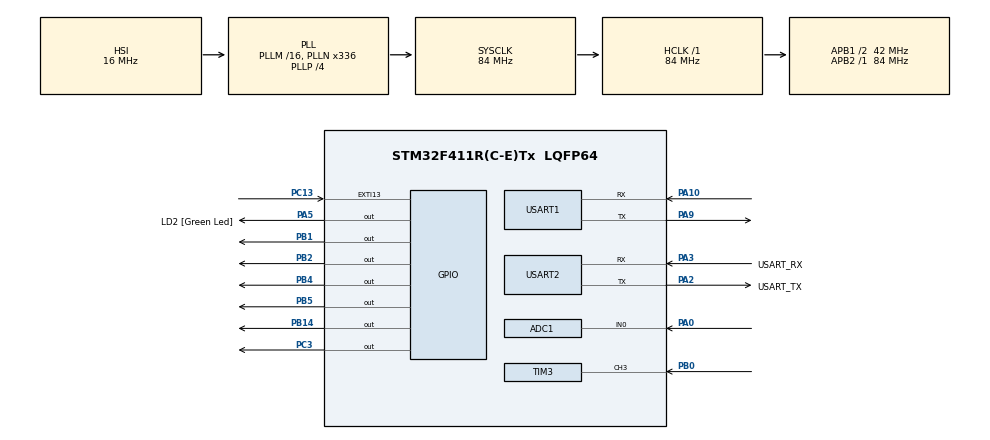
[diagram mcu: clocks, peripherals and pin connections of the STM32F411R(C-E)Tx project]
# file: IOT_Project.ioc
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ADC1.Channel-0\#ChannelRegularConversion=ADC_CHANNEL_0
ADC1.NbrOfConversionFlag=1
ADC1.Rank-0\#ChannelRegularConversion=1
ADC1.SamplingTime-0\#ChannelRegularConversion=ADC_SAMPLETIME_3CYCLES
ADC1.master=1
Mcu.Family=STM32F4
Mcu.Name=STM32F411R(C-E)Tx
Mcu.Package=LQFP64
NVIC.EXTI15_10_IRQn=true\:0\:0\:false\:false\:true\:true\:true\:true
NVIC.PriorityGroup=NVIC_PRIORITYGROUP_4
NVIC.TIM2_IRQn=true\:15\:0\:false\:false\:true\:false\:true\:true
NVIC.TIM3_IRQn=true\:0\:0\:false\:false\:true\:true\:true\:true
NVIC.TimeBase=TIM2_IRQn
NVIC.TimeBaseIP=TIM2
PA0-WKUP.Signal=ADCx_IN0
PA10.Mode=Asynchronous
PA10.Signal=USART1_RX
PA13.GPIO_Label=TMS
PA13.Mode=Serial_Wire
PA13.Signal=SYS_JTMS-SWDIO
PA14.GPIO_Label=TCK
PA14.Mode=Serial_Wire
PA14.Signal=SYS_JTCK-SWCLK
PA2.GPIO_Label=USART_TX
PA2.Mode=Asynchronous
PA2.Signal=USART2_TX
PA3.GPIO_Label=USART_RX
PA3.Mode=Asynchronous
PA3.Signal=USART2_RX
PA5.GPIO_Label=LD2 [Green Led]
PA5.Signal=GPIO_Output
PA9.Mode=Asynchronous
PA9.Signal=USART1_TX
PB0.Signal=S_TIM3_CH3
PB1.Signal=GPIO_Output
PB14.Signal=GPIO_Output
PB2.Signal=GPIO_Output
PB3.GPIO_Label=SWO
PB3.Signal=SYS_JTDO-SWO
PB4.Signal=GPIO_Output
PB5.Signal=GPIO_Output
PC13-ANTI_TAMP.GPIO_ModeDefaultEXTI=GPIO_MODE_IT_FALLING
PC13-ANTI_TAMP.Signal=GPXTI13
PC14-OSC32_IN.Mode=LSE-External-Oscillator
PC14-OSC32_IN.Signal=RCC_OSC32_IN
PC15-OSC32_OUT.Mode=LSE-External-Oscillator
PC15-OSC32_OUT.Signal=RCC_OSC32_OUT
PC3.GPIO_ModeDefaultOutputPP=GPIO_MODE_OUTPUT_OD
PC3.GPIO_PuPd=GPIO_NOPULL
PC3.Signal=GPIO_Output
PH0\ -\ OSC_IN.Mode=HSE-External-Clock-Source
PH0\ -\ OSC_IN.Signal=RCC_OSC_IN
PH1\ -\ OSC_OUT.Mode=HSE-External-Clock-Source
PH1\ -\ OSC_OUT.Signal=RCC_OSC_OUT
ProjectManager.HeapSize=0x200
ProjectManager.StackSize=0x400
ProjectManager.TargetToolchain=STM32CubeIDE
RCC.48MHZClocksFreq_Value=84000000
RCC.AHBFreq_Value=84000000
RCC.APB1CLKDivider=RCC_HCLK_DIV2
RCC.APB1Freq_Value=42000000
RCC.APB1TimFreq_Value=84000000
RCC.APB2Freq_Value=84000000
RCC.APB2TimFreq_Value=84000000
RCC.CortexFreq_Value=84000000
RCC.FLatency-AdvancedSettings=FLASH_LATENCY_2
RCC.HCLKFreq_Value=84000000
RCC.HSE_VALUE=8000000
RCC.HSI_VALUE=16000000
RCC.PLLN=336
RCC.PLLP=RCC_PLLP_DIV4
RCC.SYSCLKFreq_VALUE=84000000
RCC.SYSCLKSource=RCC_SYSCLKSOURCE_PLLCLK
RCC.VCOOutputFreq_Value=336000000
SH.ADCx_IN0.0=ADC1_IN0,IN0
SH.S_TIM3_CH3.0=TIM3_CH3,Input_Capture3_from_TI3
TIM1.Prescaler=84-1
TIM3.AutoReloadPreload=TIM_AUTORELOAD_PRELOAD_ENABLE
TIM3.Channel-Input_Capture3_from_TI3=TIM_CHANNEL_3
TIM3.Period=65536-1
TIM3.Prescaler=84-1
USART1.VirtualMode=VM_ASYNC
USART2.VirtualMode=VM_ASYNC
VP_SYS_VS_tim2.Mode=TIM2
VP_TIM1_VS_ClockSourceINT.Mode=Internal
VP_TIM3_VS_ClockSourceINT.Mode=Internal
board=NUCLEO-F411RE

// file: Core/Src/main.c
/* USER CODE BEGIN Header */
/**
  ******************************************************************************
  * @file           : main.c
  * @brief          : Main program body
  ******************************************************************************
  * @attention
  *
  * Copyright (c) 2024 STMicroelectronics.
  * All rights reserved.
  *
  * This software is licensed under terms that can be found in the LICENSE file
  * in the root directory of this software component.
  * If no LICENSE file comes with this software, it is provided AS-IS.
  *
  ******************************************************************************
  */
/* USER CODE END Header */
#include "main.h"

/* USER CODE BEGIN Includes */
#include <stdio.h>
#include <stdbool.h>
#include <string.h>
#include <stdlib.h>
#include <math.h>
#include "dht22.h"
#include "active_buzzer.h"
#include "tcs3200.h"
/* USER CODE END Includes */

/* USER CODE BEGIN PD */
// Threshold for each fruit
// Apple
#define HUM_APPLE_MIN 90
#define HUM_APPLE_MAX 95
#define ALC_APPLE 102.604
#define L_APPLE 0.84
#define CC_APPLE 16.5
#define BI_APPLE 1.7

// Banana
#define HUM_BANANA_MIN 50
#define HUM_BANANA_MAX 95
#define ALC_BANANA 90
#define L_BANANA 0.7
#define CC_BANANA 5
#define BI_BANANA 2.5

// Mango
#define HUM_MANGO_MIN 90
#define HUM_MANGO_MAX 95
#define ALC_MANGO 67.29
#define L_MANGO 0.95
#define CC_MANGO 13.5
#define BI_MANGO 1.6

// Basic Threshold
#define TEMP_THRESHOLD 28

// DHT22
#define DHT22_PORT GPIOB
#define DHT22_PIN GPIO_PIN_14

// Active Buzzer
#define BUZZER_PORT GPIOC
#define BUZZER_PIN GPIO_PIN_3

// General Settings
#define CALIBRATION_TIME 5
#define STATUS_DEBOUNCE_TIME 5
#define FLASH_ADDRESS 0x08040000
#define FRUIT_ADDRESS 0x08060000

// Current Fruit
#define FRUIT "banana"
/* USER CODE END PD */

ADC_HandleTypeDef hadc1;

TIM_HandleTypeDef htim1;
TIM_HandleTypeDef htim3;

UART_HandleTypeDef huart1;
UART_HandleTypeDef huart2;

/* USER CODE BEGIN PV */
// DHT22
DHT22_t DHT_22;
char dht22_readings[50];
uint32_t pMillis, cMillis;
uint32_t *pPMillis = &pMillis;
uint32_t *pCMillis = &cMillis;

// MQ3
volatile uint16_t alcohol_level;
uint32_t alc_0;
char mq3_readings[50];

// TCS3200
char tcs3200_readings[50];
float hum_0;
char l_l0[100];

// Color Variables
float l_0 = 1;
float a_0 = 1;
float b_0 = 1;
float l, a, b;
float normalized_l;
float normalized_hue;
float color_change;
float normalized_browning_index;

// Diff variables
float hum_diff;
float alc_diff;
/* USER CODE END PV */

void SystemClock_Config(void);
static void MX_GPIO_Init(void);
static void MX_USART2_UART_Init(void);
static void MX_TIM1_Init(void);
static void MX_ADC1_Init(void);
static void MX_TIM3_Init(void);
static void MX_USART1_UART_Init(void);
/* USER CODE BEGIN PFP */
void convert_colors(float R, float G, float B, float* l, float* a, float* b);
int check_fruit_condition(float temperature, float alc_level, float alc_threshold, float humidity, float hum_min, float hum_max, float l_value, float l_threshold, float bi_value, float bi_threshold, float cc_value, float cc_threshold);
void get_variables(float l_0, float a_0, float b_0, float l, float a, float b, float* normalized_l, float* normalized_hue, float* color_change, float* normalized_browning_index);
float convert_to_percentage_diff(float current_value, float initial_value);
void write_to_flash(uint32_t flash_address, uint32_t alc, float l, float cc,  float bi);
void read_from_flash(uint32_t flash_address, uint32_t* alc_0, float* l_0, float* cc_0, float* bi_0);
void write_fruit_to_flash(uint32_t flash_address, char fruit);
void read_fruit_from_flash(uint32_t flash_address, char* fruit);
/* USER CODE END PFP */

/* USER CODE BEGIN 0 */
bool stm_started = false;
bool started = false;
bool use_mem = false;
//
void HAL_GPIO_EXTI_Callback(uint16_t GPIO_Pin)
{
	int i = 0;
	for (i = 0; i < 10000000; i++);
	if (HAL_GPIO_ReadPin(GPIOC, GPIO_PIN_13) == 0) {
		char message[] = "Starting STM32 in memory mode...\r\n";
		HAL_UART_Transmit(&huart2, message, strlen(message), 1000);
		stm_started = true;
		use_mem = true;
	} else if (!use_mem){
		char message[] = "Starting STM32 in normal mode...\r\n";
		HAL_UART_Transmit(&huart2, message, strlen(message), 1000);
		stm_started = true;
		use_mem = false;
	}
}
/* USER CODE END 0 */

int main(void)
{

  /* MCU Configuration--------------------------------------------------------*/

  /* Reset of all peripherals, Initializes the Flash interface and the Systick. */
  HAL_Init();

  /* Configure the system clock */
  SystemClock_Config();

  /* Initialize all configured peripherals */
  MX_GPIO_Init();
  MX_USART2_UART_Init();
  MX_TIM1_Init();
  MX_ADC1_Init();
  MX_TIM3_Init();
  MX_USART1_UART_Init();
  /* USER CODE BEGIN 2 */
  HAL_TIM_Base_Start(&htim1);
  TCS3200_Freq_Scaling(TCS3200_OFREQ_20P);
  Active_Buzzer buzzer = Active_Buzzer_Init(BUZZER_PORT, BUZZER_PIN);
  bool isBuzzerOn = false;
  bool is_first_loop = true;
  char buff[200];
  char json_msg[200];

  float min_hum, max_hum, max_alc, min_l, max_cc, max_bi;

  int i = 0;
  int j = 0;
  int status_debounce = 0;
  int prev_status = 0;
  char fruit;
  int index = 0;
  int counter = 0;
  int max_counter = 20;
  int second_max_counter = 40;
  /* USER CODE END 2 */

  /* Infinite loop */
  /* USER CODE BEGIN WHILE */
  while (1)
  {
    // STM started
	  if(stm_started) {
      // Raspberry Pi started
      if (started) {
    	  counter = counter + 1;
        // Main Program
        // Read Color from TCS3200
		  	uint32_t red_frequency = TCS3200_ReadFrequency(TCS3200_COLOR_RED);
		  	uint32_t green_frequency = TCS3200_ReadFrequency(TCS3200_COLOR_GREEN);
		  	uint32_t blue_frequency = TCS3200_ReadFrequency(TCS3200_COLOR_BLUE);

		  	uint8_t red_hex = MapFrequencyToHex(red_frequency, MIN_RED, MAX_RED);
		  	uint8_t green_hex = MapFrequencyToHex(green_frequency, MIN_GREEN, MAX_GREEN);
		  	uint8_t blue_hex = MapFrequencyToHex(blue_frequency, MIN_BLUE, MAX_BLUE);

		  	sprintf(tcs3200_readings, "Red: %d Green: %d Blue: %d\r\n", red_hex, green_hex, blue_hex);

        // Read Alcohol Level from MQ3
		  	HAL_ADC_Start(&hadc1);
		  	HAL_ADC_PollForConversion(&hadc1, 20);
		  	alcohol_level = HAL_ADC_GetValue(&hadc1);

        // Check for use memory mode
        // First time initialization
		    if (is_first_loop && !use_mem) {
		      convert_colors(red_hex, green_hex, blue_hex, &l_0, &a_0, &b_0);
		      sprintf(l_l0, "Calibrating...\r\n");
		      HAL_UART_Transmit(&huart2, l_l0, strlen(l_l0), 1000);
		      i = i + 1;
		      if (i > CALIBRATION_TIME){
			      is_first_loop = false;
			      alc_0 = alcohol_level;
			      write_to_flash(FLASH_ADDRESS, alc_0, l_0, a_0, b_0);
		      }
		    } else if (use_mem) { // Use memory mode
			    sprintf(l_l0, "Loading Variables from Memory...\r\n");
			    HAL_UART_Transmit(&huart2, l_l0, strlen(l_l0), 1000);
			    read_from_flash(FLASH_ADDRESS, &alc_0, &l_0, &a_0, &b_0);
			    j = j + 1;
			    if (j > CALIBRATION_TIME){
			      is_first_loop = false;
			      use_mem = false;
			    }
		    } else { // Done Initialization
		      float alc_diff = convert_to_percentage_diff(alcohol_level, alc_0);
		      convert_colors(red_hex, green_hex, blue_hex, &l, &a, &b);
		      get_variables(l_0, a_0, b_0, l, a, b, &normalized_l, &normalized_hue, &color_change, &normalized_browning_index);
		      sprintf(l_l0, "Normalized L*: %.2f\r\nNormalized Hue: %.2f\r\nColor Change: %.2f\r\nNormalized Browning Index: %.2f\r\n", normalized_l, normalized_hue, color_change, normalized_browning_index);
	  	  	// sprintf(dht22_readings, "Temp(C): %.2f C Hum: %.2f \%\r\n", DHT_22.temp_C, DHT_22.humidity);
			  	// sprintf(mq3_readings, "Alc: %.2f \%\r\n", alc_diff);
			  	sprintf(buff, "MQ3 Reading: %s\r\nColor Variables: %s\r\n", mq3_readings, l_l0);
			  	HAL_UART_Transmit(&huart2, buff, strlen(buff), 1000);

			  	int temp_status = check_fruit_condition(DHT_22.temp_C, alc_diff, max_alc, DHT_22.humidity, min_hum, max_hum, normalized_l, min_l, normalized_browning_index, max_bi, color_change, max_cc);
			  	// manual set status for testing
			  	// temp_status = 2;
          // if (counter > second_max_counter) {
          //  temp_status = 2;
          //} else if (counter > max_counter) {
          //  temp_status = 1;
          //}
			  	char s[8];
			  	int status;
			  	if (HAL_UART_Receive(&huart1, s, 1, 1000) == HAL_OK) {
			  	  status = s[0] - '0';
			  	  char rasp_status[20];
			  	  sprintf(rasp_status, "status from rasp: %d", status);
			  	  HAL_UART_Transmit(&huart2, rasp_status, strlen(rasp_status), 1000);

			  	}

			  	if (status != prev_status) {
			  	  status_debounce = status_debounce + 1;
			  	} else {
			  	  status_debounce = 0;
			  	}
			  	if (status != prev_status && status_debounce > STATUS_DEBOUNCE_TIME) {
			  	  prev_status = status;
			  	  status_debounce = 0;
			  	}
			  	char status_msg[100];
			  	  if (prev_status == 1) {
			  	  	sprintf(status_msg, "\r\n-------------Potential Spoilage-----------\r\n");
			  	  	HAL_UART_Transmit(&huart2, status_msg, strlen(status_msg), 1000);
			  	  	HAL_GPIO_TogglePin(GPIOC, GPIO_PIN_3);
			  	  } else if (prev_status == 2) {
			  	  	sprintf(status_msg, "\r\n-------------Spoilage-----------\r\n");
			  	  	HAL_UART_Transmit(&huart2, status_msg, strlen(status_msg), 1000);
			  	  	HAL_GPIO_WritePin(GPIOC, GPIO_PIN_3, GPIO_PIN_RESET);
			  	  } else {
			  	  	HAL_GPIO_WritePin(GPIOC, GPIO_PIN_3, GPIO_PIN_SET);
			  	  }

			  	  sprintf(json_msg, "{\"red\": %d, \"green\": %d, \"blue\": %d, \"temp\": %.2f, \"hum\": %.2f, \"alc\": %.2f, \"status\": %d}\n",
            red_hex, green_hex, blue_hex, DHT_22.temp_C, DHT_22.humidity,
            alc_diff, temp_status);
			  	  HAL_UART_Transmit(&huart1, json_msg, strlen(buff), 1000);
        }
      } else {
    	  char message[] = "Waiting for Raspberry Pi to start...\r\n";
        HAL_UART_Transmit(&huart2, message, strlen(message), 1000);
        // Check for Raspberry Pi Start
        char t[8];
        if (HAL_UART_Receive(&huart1, t, 1, 1000) == HAL_OK) {
          // Fruit Detected
          if (!started && t[0] == '1') {
            bool know_fruit = false;
            if (use_mem) {
              know_fruit = true;
            }
            // Wait for Raspberry Pi to send fruit
            while (!know_fruit) {
              if (HAL_UART_Receive(&huart1, t, 2, 1000) == HAL_OK) {
                if (t[0] == 'f') {
                  fruit = t[1];
                  char fruity[20];
                  sprintf(fruity, "fruit: %c\r\n", fruit);
                  HAL_UART_Transmit(&huart2, fruity, strlen(fruity), 1000);
                  know_fruit = true;
                  write_fruit_to_flash(FRUIT_ADDRESS, fruit);
                }
              }
            }
            read_fruit_from_flash(FRUIT_ADDRESS, &fruit);
            started = true;

            // Set thresholds based on the fruit
            if (fruit == '0') {
              char message[] = "Fruit is Apple!\r\n";
              HAL_UART_Transmit(&huart2, message, strlen(message), 1000);
              min_hum = HUM_APPLE_MIN;
              max_hum = HUM_APPLE_MAX;
              max_alc = ALC_APPLE;
              min_l = L_APPLE;
              max_cc = CC_APPLE;
              max_bi = BI_APPLE;
            } else if (fruit == '1') {
              char message[] = "Fruit is Banana!\r\n";
              HAL_UART_Transmit(&huart2, message, strlen(message), 1000);
              min_hum = HUM_BANANA_MIN;
              max_hum = HUM_BANANA_MAX;
              max_alc = ALC_BANANA;
              min_l = L_BANANA;
              max_cc = CC_BANANA;
              max_bi = BI_BANANA;
            } else if (fruit == '2') {
              char message[] = "Fruit is Mango!\r\n";
              HAL_UART_Transmit(&huart2, message, strlen(message), 1000);
              min_hum = HUM_MANGO_MIN;
              max_hum = HUM_MANGO_MAX;
              max_alc = ALC_MANGO;
              min_l = L_MANGO;
              max_cc = CC_MANGO;
              max_bi = BI_MANGO;
            }
          }
        }
      }

	  } else {
		  char message[] = "Waiting for STM32 to start...\r\n";
		  HAL_UART_Transmit(&huart2, message, strlen(message), 1000);
	  }

	  HAL_Delay(1000);
    /* USER CODE END WHILE */

  }
}

void SystemClock_Config(void)
{
  RCC_OscInitTypeDef RCC_OscInitStruct = {0};
  RCC_ClkInitTypeDef RCC_ClkInitStruct = {0};

  /** Configure the main internal regulator output voltage
  */
  __HAL_RCC_PWR_CLK_ENABLE();
  __HAL_PWR_VOLTAGESCALING_CONFIG(PWR_REGULATOR_VOLTAGE_SCALE1);

  /** Initializes the RCC Oscillators according to the specified parameters
  * in the RCC_OscInitTypeDef structure.
  */
  RCC_OscInitStruct.OscillatorType = RCC_OSCILLATORTYPE_HSI;
  RCC_OscInitStruct.HSIState = RCC_HSI_ON;
  RCC_OscInitStruct.HSICalibrationValue = RCC_HSICALIBRATION_DEFAULT;
  RCC_OscInitStruct.PLL.PLLState = RCC_PLL_ON;
  RCC_OscInitStruct.PLL.PLLSource = RCC_PLLSOURCE_HSI;
  RCC_OscInitStruct.PLL.PLLM = 16;
  RCC_OscInitStruct.PLL.PLLN = 336;
  RCC_OscInitStruct.PLL.PLLP = RCC_PLLP_DIV4;
  RCC_OscInitStruct.PLL.PLLQ = 4;
  if (HAL_RCC_OscConfig(&RCC_OscInitStruct) != HAL_OK)
  {
    Error_Handler();
  }

  /** Initializes the CPU, AHB and APB buses clocks
  */
  RCC_ClkInitStruct.ClockType = RCC_CLOCKTYPE_HCLK|RCC_CLOCKTYPE_SYSCLK
                              |RCC_CLOCKTYPE_PCLK1|RCC_CLOCKTYPE_PCLK2;
  RCC_ClkInitStruct.SYSCLKSource = RCC_SYSCLKSOURCE_PLLCLK;
  RCC_ClkInitStruct.AHBCLKDivider = RCC_SYSCLK_DIV1;
  RCC_ClkInitStruct.APB1CLKDivider = RCC_HCLK_DIV2;
  RCC_ClkInitStruct.APB2CLKDivider = RCC_HCLK_DIV1;

  if (HAL_RCC_ClockConfig(&RCC_ClkInitStruct, FLASH_LATENCY_2) != HAL_OK)
  {
    Error_Handler();
  }
}

static void MX_ADC1_Init(void)
{

  ADC_ChannelConfTypeDef sConfig = {0};

  /** Configure the global features of the ADC (Clock, Resolution, Data Alignment and number of conversion)
  */
  hadc1.Instance = ADC1;
  hadc1.Init.ClockPrescaler = ADC_CLOCK_SYNC_PCLK_DIV4;
  hadc1.Init.Resolution = ADC_RESOLUTION_12B;
  hadc1.Init.ScanConvMode = DISABLE;
  hadc1.Init.ContinuousConvMode = DISABLE;
  hadc1.Init.DiscontinuousConvMode = DISABLE;
  hadc1.Init.ExternalTrigConvEdge = ADC_EXTERNALTRIGCONVEDGE_NONE;
  hadc1.Init.ExternalTrigConv = ADC_SOFTWARE_START;
  hadc1.Init.DataAlign = ADC_DATAALIGN_RIGHT;
  hadc1.Init.NbrOfConversion = 1;
  hadc1.Init.DMAContinuousRequests = DISABLE;
  hadc1.Init.EOCSelection = ADC_EOC_SINGLE_CONV;
  if (HAL_ADC_Init(&hadc1) != HAL_OK)
  {
    Error_Handler();
  }

  /** Configure for the selected ADC regular channel its corresponding rank in the sequencer and its sample time.
  */
  sConfig.Channel = ADC_CHANNEL_0;
  sConfig.Rank = 1;
  sConfig.SamplingTime = ADC_SAMPLETIME_3CYCLES;
  if (HAL_ADC_ConfigChannel(&hadc1, &sConfig) != HAL_OK)
  {
    Error_Handler();
  }

}

static void MX_TIM1_Init(void)
{

  TIM_ClockConfigTypeDef sClockSourceConfig = {0};
  TIM_MasterConfigTypeDef sMasterConfig = {0};

  htim1.Instance = TIM1;
  htim1.Init.Prescaler = 84-1;
  htim1.Init.CounterMode = TIM_COUNTERMODE_UP;
  htim1.Init.Period = 65535;
  htim1.Init.ClockDivision = TIM_CLOCKDIVISION_DIV1;
  htim1.Init.RepetitionCounter = 0;
  htim1.Init.AutoReloadPreload = TIM_AUTORELOAD_PRELOAD_DISABLE;
  if (HAL_TIM_Base_Init(&htim1) != HAL_OK)
  {
    Error_Handler();
  }
  sClockSourceConfig.ClockSource = TIM_CLOCKSOURCE_INTERNAL;
  if (HAL_TIM_ConfigClockSource(&htim1, &sClockSourceConfig) != HAL_OK)
  {
    Error_Handler();
  }
  sMasterConfig.MasterOutputTrigger = TIM_TRGO_RESET;
  sMasterConfig.MasterSlaveMode = TIM_MASTERSLAVEMODE_DISABLE;
  if (HAL_TIMEx_MasterConfigSynchronization(&htim1, &sMasterConfig) != HAL_OK)
  {
    Error_Handler();
  }

}

static void MX_TIM3_Init(void)
{

  TIM_ClockConfigTypeDef sClockSourceConfig = {0};
  TIM_MasterConfigTypeDef sMasterConfig = {0};
  TIM_IC_InitTypeDef sConfigIC = {0};

  htim3.Instance = TIM3;
  htim3.Init.Prescaler = 84-1;
  htim3.Init.CounterMode = TIM_COUNTERMODE_UP;
  htim3.Init.Period = 65536-1;
  htim3.Init.ClockDivision = TIM_CLOCKDIVISION_DIV1;
  htim3.Init.AutoReloadPreload = TIM_AUTORELOAD_PRELOAD_ENABLE;
  if (HAL_TIM_Base_Init(&htim3) != HAL_OK)
  {
    Error_Handler();
  }
  sClockSourceConfig.ClockSource = TIM_CLOCKSOURCE_INTERNAL;
  if (HAL_TIM_ConfigClockSource(&htim3, &sClockSourceConfig) != HAL_OK)
  {
    Error_Handler();
  }
  if (HAL_TIM_IC_Init(&htim3) != HAL_OK)
  {
    Error_Handler();
  }
  sMasterConfig.MasterOutputTrigger = TIM_TRGO_RESET;
  sMasterConfig.MasterSlaveMode = TIM_MASTERSLAVEMODE_DISABLE;
  if (HAL_TIMEx_MasterConfigSynchronization(&htim3, &sMasterConfig) != HAL_OK)
  {
    Error_Handler();
  }
  sConfigIC.ICPolarity = TIM_INPUTCHANNELPOLARITY_RISING;
  sConfigIC.ICSelection = TIM_ICSELECTION_DIRECTTI;
  sConfigIC.ICPrescaler = TIM_ICPSC_DIV1;
  sConfigIC.ICFilter = 0;
  if (HAL_TIM_IC_ConfigChannel(&htim3, &sConfigIC, TIM_CHANNEL_3) != HAL_OK)
  {
    Error_Handler();
  }
  /* USER CODE BEGIN TIM3_Init 2 */
  HAL_NVIC_SetPriority(TIM3_IRQn, 0, 0);
  HAL_NVIC_EnableIRQ(TIM3_IRQn);

  HAL_TIM_IC_Start_IT(&htim3, TIM_CHANNEL_3);
  /* USER CODE END TIM3_Init 2 */

}

static void MX_USART1_UART_Init(void)
{

  huart1.Instance = USART1;
  huart1.Init.BaudRate = 115200;
  huart1.Init.WordLength = UART_WORDLENGTH_8B;
  huart1.Init.StopBits = UART_STOPBITS_1;
  huart1.Init.Parity = UART_PARITY_NONE;
  huart1.Init.Mode = UART_MODE_TX_RX;
  huart1.Init.HwFlowCtl = UART_HWCONTROL_NONE;
  huart1.Init.OverSampling = UART_OVERSAMPLING_16;
  if (HAL_UART_Init(&huart1) != HAL_OK)
  {
    Error_Handler();
  }

}

static void MX_USART2_UART_Init(void)
{

  huart2.Instance = USART2;
  huart2.Init.BaudRate = 115200;
  huart2.Init.WordLength = UART_WORDLENGTH_8B;
  huart2.Init.StopBits = UART_STOPBITS_1;
  huart2.Init.Parity = UART_PARITY_NONE;
  huart2.Init.Mode = UART_MODE_TX_RX;
  huart2.Init.HwFlowCtl = UART_HWCONTROL_NONE;
  huart2.Init.OverSampling = UART_OVERSAMPLING_16;
  if (HAL_UART_Init(&huart2) != HAL_OK)
  {
    Error_Handler();
  }

}

static void MX_GPIO_Init(void)
{
  GPIO_InitTypeDef GPIO_InitStruct = {0};

  /* GPIO Ports Clock Enable */
  __HAL_RCC_GPIOC_CLK_ENABLE();
  __HAL_RCC_GPIOH_CLK_ENABLE();
  __HAL_RCC_GPIOA_CLK_ENABLE();
  __HAL_RCC_GPIOB_CLK_ENABLE();

  /*Configure GPIO pin Output Level */
  HAL_GPIO_WritePin(GPIOC, GPIO_PIN_3, GPIO_PIN_RESET);

  /*Configure GPIO pin Output Level */
  HAL_GPIO_WritePin(LD2_GPIO_Port, LD2_Pin, GPIO_PIN_RESET);

  /*Configure GPIO pin Output Level */
  HAL_GPIO_WritePin(GPIOB, GPIO_PIN_1|GPIO_PIN_2|GPIO_PIN_14|GPIO_PIN_4
                          |GPIO_PIN_5, GPIO_PIN_RESET);

  /*Configure GPIO pin : PC13 */
  GPIO_InitStruct.Pin = GPIO_PIN_13;
  GPIO_InitStruct.Mode = GPIO_MODE_IT_FALLING;
  GPIO_InitStruct.Pull = GPIO_NOPULL;
  HAL_GPIO_Init(GPIOC, &GPIO_InitStruct);

  /*Configure GPIO pin : PC3 */
  GPIO_InitStruct.Pin = GPIO_PIN_3;
  GPIO_InitStruct.Mode = GPIO_MODE_OUTPUT_OD;
  GPIO_InitStruct.Pull = GPIO_NOPULL;
  GPIO_InitStruct.Speed = GPIO_SPEED_FREQ_LOW;
  HAL_GPIO_Init(GPIOC, &GPIO_InitStruct);

  /*Configure GPIO pin : LD2_Pin */
  GPIO_InitStruct.Pin = LD2_Pin;
  GPIO_InitStruct.Mode = GPIO_MODE_OUTPUT_PP;
  GPIO_InitStruct.Pull = GPIO_NOPULL;
  GPIO_InitStruct.Speed = GPIO_SPEED_FREQ_LOW;
  HAL_GPIO_Init(LD2_GPIO_Port, &GPIO_InitStruct);

  /*Configure GPIO pins : PB1 PB2 PB14 PB4
                           PB5 */
  GPIO_InitStruct.Pin = GPIO_PIN_1|GPIO_PIN_2|GPIO_PIN_14|GPIO_PIN_4
                          |GPIO_PIN_5;
  GPIO_InitStruct.Mode = GPIO_MODE_OUTPUT_PP;
  GPIO_InitStruct.Pull = GPIO_NOPULL;
  GPIO_InitStruct.Speed = GPIO_SPEED_FREQ_LOW;
  HAL_GPIO_Init(GPIOB, &GPIO_InitStruct);

  /* EXTI interrupt init*/
  HAL_NVIC_SetPriority(EXTI15_10_IRQn, 0, 0);
  HAL_NVIC_EnableIRQ(EXTI15_10_IRQn);

}

/* USER CODE BEGIN 4 */
// using https://web.archive.org/web/20111111080001/http://www.easyrgb.com/index.php?X=MATH&H=01#tex1
void convert_colors(float R, float G, float B, float* l, float* a, float* b)
{
    float var_R = R/255.0;
    float var_G = G/255.0;
    float var_B = B/255.0;

    if ( var_R > 0.04045 ) var_R = pow( (( var_R + 0.055 ) / 1.055 ), 2.4 );
    else                   var_R = var_R / 12.92;
    if ( var_G > 0.04045 ) var_G = pow( ( ( var_G + 0.055 ) / 1.055 ), 2.4);
    else                   var_G = var_G / 12.92;
    if ( var_B > 0.04045 ) var_B = pow( ( ( var_B + 0.055 ) / 1.055 ), 2.4);
    else                   var_B = var_B / 12.92;

    var_R = var_R * 100.;
    var_G = var_G * 100.;
    var_B = var_B * 100.;

    //Observer. = 2°, Illuminant = D65
    float X = var_R * 0.4124 + var_G * 0.3576 + var_B * 0.1805;
    float Y = var_R * 0.2126 + var_G * 0.7152 + var_B * 0.0722;
    float Z = var_R * 0.0193 + var_G * 0.1192 + var_B * 0.9505;

    float var_X = X / 95.047 ;         //ref_X =  95.047   Observer= 2°, Illuminant= D65
    float var_Y = Y / 100.000;          //ref_Y = 100.000
    float var_Z = Z / 108.883;          //ref_Z = 108.883

    if ( var_X > 0.008856 ) var_X = pow(var_X , ( 1./3. ) );
    else                    var_X = ( 7.787 * var_X ) + ( 16. / 116. );
    if ( var_Y > 0.008856 ) var_Y = pow(var_Y , ( 1./3. ));
    else                    var_Y = ( 7.787 * var_Y ) + ( 16. / 116. );
    if ( var_Z > 0.008856 ) var_Z = pow(var_Z , ( 1./3. ));
    else                    var_Z = ( 7.787 * var_Z ) + ( 16. / 116. );

    float l_s = ( 116. * var_Y ) - 16.;
    float a_s = 500. * ( var_X - var_Y );
    float b_s = 200. * ( var_Y - var_Z );

    *l = l_s;
    *a = a_s;
    *b = b_s;
}

void get_variables(float l_0, float a_0, float b_0, float l, float a, float b, float* normalized_l, float* normalized_hue, float* color_change, float* normalized_browning_index)
{
	float h_0 = sqrt(pow(a_0, 2) + pow(b_0, 2));
	float h = sqrt(pow(a, 2) + pow(b, 2));
	float x_0 = (a_0 + 1.75 * l_0) / (5.645 * l_0 + a_0 - 3.012 * b_0);
	float x = (a + 1.75 * l) / (5.645 * l + a - 3.012 * b);
	float bi_0 = (100 * (x_0 - 0.31)) / 0.17;
	float bi = (100 * (x - 0.31)) / 0.17;
	float delta_e = sqrt(pow((l - l_0), 2) + pow((a - a_0), 2) + pow((b - b_0), 2));

	*normalized_l = l / l_0;
	*normalized_hue = h / h_0;
	*color_change = delta_e;
	*normalized_browning_index = bi / bi_0;

}

int check_fruit_condition(float temperature, float alc_level, float alc_threshold, float humidity, float min_hum, float max_hum, float l_value, float l_threshold, float bi_value, float bi_threshold, float cc_value, float cc_threshold)
{
	if ((l_value < l_threshold) || (bi_value > bi_threshold) || (cc_value > cc_threshold)) {
				return 2;
	}
//	if (temperature > TEMP_THRESHOLD) {
//		return 1;
//	}
//
//	if ((humidity < min_hum || humidity > max_hum)) {
//			return 1;
//	}

	return 0;
}
float convert_to_percentage_diff(float current_value, float initial_value)
{
	return (100 * (current_value - initial_value)) / initial_value;
}

void write_fruit_to_flash(uint32_t flash_address, char fruit)
{
  HAL_FLASH_Unlock();
  FLASH_Erase_Sector(7, FLASH_VOLTAGE_RANGE_3);
  HAL_FLASH_Lock();
  HAL_FLASH_Unlock();
  HAL_FLASH_Program(FLASH_TYPEPROGRAM_WORD, flash_address, fruit);
  HAL_FLASH_Lock();
}

void read_fruit_from_flash(uint32_t flash_address, char* fruit)
{
  HAL_FLASH_Unlock();
  *fruit = *(__IO uint32_t*)flash_address;
  HAL_FLASH_Lock();
}

void write_to_flash(uint32_t flash_address, uint32_t alc, float l, float a, float b)
{
	HAL_FLASH_Unlock();
	FLASH_Erase_Sector(6, FLASH_VOLTAGE_RANGE_3);
	HAL_FLASH_Lock();
	HAL_FLASH_Unlock();
	float data[4] = {alc, l, a, b};
	for (int i = 0; i<=3; i++) {
		if (i == 0) {
			HAL_FLASH_Program(FLASH_TYPEPROGRAM_WORD, flash_address, data[i]);
		} else {
			HAL_FLASH_Program(FLASH_TYPEPROGRAM_WORD, flash_address, *(uint32_t *)&(data[i]));
		}

		flash_address+=16;
	}
	HAL_FLASH_Lock();
}

void read_from_flash(uint32_t flash_address, uint32_t* alc_0, float* l_0, float* a_0, float* b_0)
{
	HAL_FLASH_Unlock();
	float read_data[4];
	for (int i = 0; i <=3; i++) {
		if (i == 0) {
			read_data[i] = *(__IO uint32_t*)flash_address;
		} else {
			read_data[i] = *(float *)flash_address;
		}
		flash_address+=16;
	}
	*alc_0 = read_data[0];
	*l_0 = read_data[1];
	*a_0 = read_data[2];
	*b_0 = read_data[3];
	HAL_FLASH_Lock();
}
/* USER CODE END 4 */

void HAL_TIM_PeriodElapsedCallback(TIM_HandleTypeDef *htim)
{
  if (htim->Instance == TIM2) {
    HAL_IncTick();
  }
}

void Error_Handler(void)
{
  __disable_irq();
  while (1)
  {
  }
}
